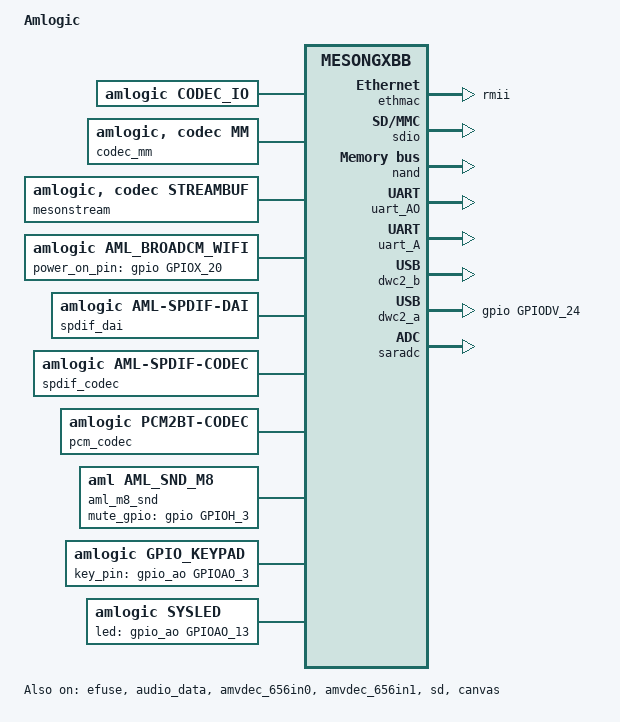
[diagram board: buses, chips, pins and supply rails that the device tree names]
/*
 * Amlogic Ltd. GXBaby Plaform
 *
 */

/dts-v1/;

#include <dt-bindings/interrupt-controller/arm-gic.h>
#include <dt-bindings/clock/gxbb.h>
#include <dt-bindings/gpio/gxbb.h>
#include <dt-bindings/gpio/gpio.h>
#include <dt-bindings/reset/aml_gxbb.h>
#include "mesongxbb.dtsi"
/ {
	model = "Amlogic";
	compatible = "amlogic, Gxbb";
	interrupt-parent = <&gic>;
	#address-cells = <2>;
	#size-cells = <2>;

	aliases {
		serial0 = &uart_AO;
		serial1 = &uart_A;
	};

	gpu_dvfs_tbl:gpu_dvfs_tbl {
		sc_mpp = <3>;/* number of pp used most of time.*/
		tbl = <&clk285_cfg &clk400_cfg &clk500_cfg &clk666_cfg &clk800_cfg>;
	};

	memory@00000000 {
		device_type = "memory";
		linux,usable-memory = <0x0 0x1000000 0x0 0x3f000000>;
	};

	reserved-memory {
		#address-cells = <2>;
		#size-cells = <2>;
		ranges;
		/* global autoconfigured region for contiguous allocations */
		secmon_reserved:linux,secmon {
			compatible = "aml_secmon_memory";
			reg = <0x0 0x10000000 0x0 0x200000>;
			no-map;
		};

		pstore:aml_pstore {
			compatible = "amlogic, pstore";
			reg = <0x0 0x20000000 0x0 0x100000>;
			no-map;
		};
		fb_reserved:linux,meson-fb {
			compatible = "amlogic, fb-memory";
			size = <0x0 0x2000000>;
			no-map;
		};

		di_reserved:linux,di {
			compatible = "amlogic, di-mem";
			size = <0x0 0x1e00000>; //10x1920x1088x3/2=30M
			//no-map;
		};

		ion_reserved:linux,ion-dev {
			compatible = "amlogic, idev-mem";
			size = <0x0 0x2000000>;
		};


		/*  vdin0 */
//		vdin0_reserved:linux,vdin0 {
//			compatible = "amlogic, vdin_memory";
			/* 1920x1080x2x4  =17M */
//			size = <0x0 0x01000000>;
//		};
		 /*  vdin1 */
//		vdin1_reserved:linux,vdin1 {
//			compatible = "amlogic, vdin_memory";
			/* 1920x1080x2x4  =17M */
//			size = <0x0 0x01000000>;
//		};
		/*  PICDEC reserved memory */
		picdec_reserved:linux,picdec {
			compatible = "amlogic, picdec_memory";
			size = <0x0 0x1000000>;
			//no-map;
		};
		/*  POST PROCESS MANAGER */
		//ppmgr_reserved:linux,ppmgr {
		//	compatible = "amlogic, ppmgr_memory";
		//	size = <0x0 0x2000000>;
		//};

		/* AVC Encode CMA pool */
		avc_cma_reserved:linux,avc_cma {
			compatible = "shared-dma-pool";
			linux,phandle = <1>;
			reusable;
			size = <0x0 0x1400000>;
			alignment = <0x0 0x400000>;
			linux,contiguous-region;
		};
		/* vdec CMA pool */
		vdec_cma_reserved:linux,vdec_cma {
			compatible = "shared-dma-pool";
			linux,phandle = <2>;
			reusable;
			size = <0x0 0x0>;
			alignment = <0x0 0x400000>;
			linux,contiguous-region;
		};
		codec_mm_cma:linux,codec_mm_cma {
			compatible = "shared-dma-pool";
			linux,phandle = <3>;
			reusable;
			size = <0x0 0x10000000>;
			alignment = <0x0 0x400000>;
			linux,contiguous-region;
		};
		/* codec shared reversed */
		codec_mm_reversed:linux,codec_mm_reserve {
			compatible = "amlogic, codec-mm-reserve";
			size = <0x0 0x3000000>;
 			no-map;
		};
	};

	meson-vout {
		compatible = "amlogic, meson-vout";
		dev_name = "meson-vout";
		status = "okay";
	};
	meson-fb {
		compatible = "amlogic, meson-fb";
		memory-region = <&fb_reserved>;
		dev_name = "meson-fb";
		status = "okay";
		interrupts = <0 3 1
			0 89 1>;
		interrupt-names = "viu-vsync", "rdma";
		mem_size = <0x01800000 0x00100000>; /* fb0/fb1 memory size */
		vmode = <3>; /** 0:VMODE_720P 1:VMODE_LCD 2:VMODE_LVDS_1080P 3:VMODE_1080P */
		scale_mode = <1>; /** 0:VPU free scale 1:OSD free scale 2:OSD super scale */
		display_size_default = <1920 1080 1920 3240 32>; //1920*1080*4*3 = 0x17BB000
	};
	ge2d {
		compatible = "amlogic, ge2d";
		dev_name = "ge2d";
		status = "okay";
		interrupts = <0 150 1>;
		interrupt-names = "ge2d";
		clocks = <&clock CLK_VAPB_0>,
			<&clock CLK_GE2D>;
		clock-names = "clk_vapb_0",
				"clk_ge2d";
		resets = <&clock GCLK_IDX_GE2D>;
		reset-names = "ge2d";
	};
	codec_io {
		compatible = "amlogic, codec_io";
		#address-cells=<2>;
		#size-cells=<2>;
		ranges;
		io_cbus_base{
			reg = <0x0 0xC1100000 0x0 0x100000>;
		};
		io_dos_base{
			reg = <0x0 0xc8820000 0x0 0x10000>;
		};
		io_hiubus_base{
			reg = <0x0 0xc883c000 0x0 0x2000>;
		};
		io_aobus_base{
			reg = <0x0 0xc8100000 0x0 0x100000>;
		};
		io_vcbus_base{
			reg = <0x0 0xd0100000 0x0 0x40000>;
		};
		io_dmc_base{
			reg = <0x0 0xc8838000 0x0 0x400>;
		};
	};
	codec_mm {
			compatible = "amlogic, codec, mm";
			memory-region = <&codec_mm_cma>;
			dev_name = "codec_mm";
			status = "okay";
	};
	ethmac: ethernet@0xc9410000{
                compatible = "amlogic, gxbb-rmii-dwmac";
                reg = <0x0 0xc9410000 0x0 0x10000
                0x0 0xc8834540 0x0 0x8>;
                interrupts = <0 8 1>;
                phy-mode= "rmii";
                pinctrl-names = "eth_pins";
                pinctrl-0 = <&eth_pins>;
                rst_pin-gpios = <&gpio GPIOZ_14 0>;
                mc_val = <0x1800>;
                resets = <&clock GCLK_IDX_ETHERNET>;
                reset-names = "ethpower";
                interrupt-names = "macirq";
                clocks = <&clock CLK_81>;
                clock-names = "ethclk81";
        };

	mesonstream {
		compatible = "amlogic, codec, streambuf";
		dev_name = "mesonstream";
		status = "okay";
		resets = <&clock GCLK_IDX_HIU_PARSER_TOP
			&clock GCLK_IDX_VPU_INTR
			&clock GCLK_IDX_DEMUX
			&clock GCLK_IDX_DOS>;
		reset-names = "parser_top",
			"vpu_intr",
			"demux",
			"vdec";
	};

	amvideocap {
		compatible = "amlogic, amvideocap";
		dev_name = "amvideocap.0";
		status = "okay";
	};

	ion_dev {
		compatible = "amlogic, ion_dev";
		memory-region = <&ion_reserved>;
	};

	vdec {
		compatible = "amlogic, vdec";
		memory-region = <&vdec_cma_reserved>;
		dev_name = "vdec.0";
		status = "okay";
		interrupts = <0 3 1
			0 23 1
			0 32 1
			0 43 1
			0 44 1
			0 45 1>;
		interrupt-names = "vsync",
			"demux",
			"parser",
			"mailbox_0",
			"mailbox_1",
			"mailbox_2";
	};
	picdec {
		   compatible = "amlogic, picdec";
		   memory-region = <&picdec_reserved>;
		   dev_name = "picdec";
		   status = "okay";
	};
	ppmgr {
		compatible = "amlogic, ppmgr";//to match of_device_id's compatible member
		memory-region = <&ion_reserved>;
		dev_name = "ppmgr";
		status = "okay";
	};
	deinterlace {
		compatible = "amlogic, deinterlace";
		status = "okay";
		memory-region = <&di_reserved>;
		interrupts = <0 46 1
				0 6 1>;
		interrupt-names = "de_irq",
				"timerc";
		buffer-size = <3133440>;	//1920x1088x3/2
		hw-version = <2>;
	};
/*	vdin0 {
		compatible = "amlogic, vdin";
		memory-region = <&vdin0_reserved>;
		dev_name = "vdin0";
		status = "ok";
		reserve-iomap = "true";
		interrupts = <0 83 1>;
		rdma-irq = <2>;
		clocks = <&clock CLK_XTAL>,
			<&clock CLK_VID_LOCK_CLK>;
		clock-names = "xtal", "cts_vid_lock_clk";
		vdin_id = <0>;
	};
	vdin1 {
		compatible = "amlogic, vdin";
		memory-region = <&vdin1_reserved>;
		dev_name = "vdin1";
		status = "ok";
		reserve-iomap = "true";
		interrupts = <0 85 1>;
		rdma-irq = <4>;
		clocks = <&clock CLK_XTAL>,
			<&clock CLK_VID_LOCK_CLK>;
		clock-names = "xtal", "cts_vid_lock_clk";
		vdin_id = <1>;
	};*/
	amvdec_656in0 {
		compatible = "amlogic, amvdec_656in";
		dev_name = "amvdec_656in0";
		status = "ok";
		reg = <0x0 0xd0048000 0x0 0x7c>;
		clocks = <&clock CLK_FPLL_DIV2>,
			<&clock CLK_BT656_CLK0>;
		clock-names = "fclk_div2", "cts_bt656_clk0";
		bt656_id = <0>;
	};
	amvdec_656in1 {
		compatible = "amlogic, amvdec_656in";
		dev_name = "amvdec_656in1";
		status = "ok";
		reg = <0x0 0xd0050000 0x0 0x7c>;
		clocks = <&clock CLK_FPLL_DIV2>,
			<&clock CLK_BT656_CLK1>;
		clock-names = "fclk_div2", "cts_bt656_clk1";
		bt656_id = <1>;
	};

	amvenc_avc{
		compatible = "amlogic, amvenc_avc";
		//memory-region = <&amvenc_avc_reserved>;
		memory-region = <&avc_cma_reserved>;
		dev_name = "amvenc_avc";
		status = "okay";
		interrupts = <0 45 1>;
		interrupt-names = "mailbox_2";
	};


	vpu {
		compatible = "amlogic, vpu";
		dev_name = "vpu";
		status = "ok";
		clk_level = <7>;
		/**	0: 100.0M    1: 166.7M    2: 200.0M
			3: 250.0M    4: 333.3M    5: 400.0M
			6: 500.0M    7: 666.7M */
	};
	//bt-dev{
		//compatible = "amlogic, bt-dev";
		//dev_name = "bt-dev";
		//status = "ok";
		//gpio_reset = <&gpio       GPIOX_20       GPIO_ACTIVE_HIGH>;
	//};
	wifi{
		compatible = "amlogic, aml_broadcm_wifi";
		dev_name = "aml_broadcm_wifi";
		status = "okay";
		interrupt_pin = <&gpio       GPIOX_7       GPIO_ACTIVE_HIGH>;
		interrupts = <	0 68 4>;
		irq_trigger_type = "GPIO_IRQ_HIGH";
		power_on_pin = <&gpio       GPIOX_20       GPIO_ACTIVE_HIGH>;
		pinctrl-names = "wifi_32k_pins";
		pinctrl-0 = <&wifi_32k_pins>;
	};
    sd{
        compatible = "amlogic, aml_sd_emmc";
        dev_name = "aml_newsd.0";
        status = "okay";
        reg = <0x0 0xd0072000 0x0 0x2000>;
        interrupts = <	0 217 1
        				0 67 1
        				0 69 1>;
        pinctrl-names = "sd_clk_cmd_pins", "sd_all_pins", "sd_1bit_pins","sd_clk_cmd_uart_pins","sd_1bit_uart_pins", "sd_to_ao_uart_pins", "ao_to_sd_uart_pins";
        pinctrl-0 = <&sd_clk_cmd_pins>;
        pinctrl-1 = <&sd_all_pins>;
        pinctrl-2 = <&sd_1bit_pins>;
        pinctrl-3 = <&sd_clk_cmd_uart_pins>;
        pinctrl-4 = <&sd_1bit_uart_pins>;
        pinctrl-5 = <&sd_to_ao_uart_pins>;
        pinctrl-6 = <&ao_to_sd_uart_pins>;
		sd{
	   		status = "okay";
				port = <1>;          /**0:sdio_a, 1:sdio_b, 2:sdio_c, 3:sdhc_a, 4:sdhc_b, 5:sdhc_c */
	   		pinname = "sd";
	   		ocr_avail = <0x00200080>; // 3.3:0x200000, 1.8+3.3:0x00200080
	   		caps = "MMC_CAP_4_BIT_DATA","MMC_CAP_MMC_HIGHSPEED",
	   				"MMC_CAP_SD_HIGHSPEED";
					//"MMC_CAP_UHS_SDR12",
	   				//"MMC_CAP_UHS_SDR25","MMC_CAP_UHS_SDR50",
	   				//"MMC_CAP_UHS_SDR104";
	   		f_min = <400000>;
	   		f_max = <100000000>;
	   		max_req_size = <0x20000>;          /**128KB*/
			gpio_dat3 = <&gpio       CARD_4       GPIO_ACTIVE_HIGH>;
			jtag_pin =  <&gpio       CARD_0       GPIO_ACTIVE_HIGH>;
			gpio_cd =  <&gpio       CARD_6       GPIO_ACTIVE_HIGH>;
	   		irq_in = <3>;
	   		irq_out = <5>;
	   		card_type = <5>; /* 0:unknown, 1:mmc card(include eMMC), 2:sd card(include tSD), 3:sdio device(ie:sdio-wifi), 4:SD combo (IO+mem) card, 5:NON sdio device(means sd/mmc card), other:reserved */
		};
    };
	sdio{
		compatible = "amlogic, aml_sd_emmc";
		dev_name = "aml_newsd.0";
		status = "okay";
		reg = <0x0 0xd0070000 0x0 0x2000>;
		interrupts = <	0 216 4>;
		pinctrl-names =  "sdio_clk_cmd_pins", "sdio_all_pins";
		pinctrl-0 = <&sdio_clk_cmd_pins>;
		pinctrl-1 = <&sdio_all_pins>;
		sdio{
			status = "okay";
			pinname = "sdio";
			ocr_avail = <0x00200080>;  /*3.3:0x200000, 1.8+3.3:0x00200080 */
			caps = "MMC_CAP_4_BIT_DATA","MMC_CAP_MMC_HIGHSPEED",
				"MMC_CAP_SD_HIGHSPEED", "MMC_CAP_NONREMOVABLE",
				"MMC_CAP_UHS_SDR12","MMC_CAP_UHS_SDR25",
				"MMC_CAP_UHS_SDR50","MMC_CAP_UHS_SDR104",
				"MMC_PM_KEEP_POWER","MMC_CAP_SDIO_IRQ";
				f_min = <400000>;
				f_max = <200000000>;
				max_req_size = <0x20000>;          /**128KB*/
				card_type = <3>;  /*3:sdio device(ie:sdio-wifi), 4:SD combo (IO+mem) card, */
		};
	};
	nand{
		compatible = "amlogic, aml_nand";
		dev_name = "nand";
		status = "ok";
		reg = <0x0 0xd0074800 0x0 0x200>;
		interrupts = <	0 34 1 >;
		pinctrl-names = "nand_rb_mod","nand_norb_mod", "nand_cs_pins_only";
		pinctrl-0 = <&conf_nand_pulldown &conf_nand_pullup &all_nand_pins>;
		pinctrl-1 = <&conf_nand_pulldown &conf_nand_pullup &all_nand_pins>;
		pinctrl-2 = <&nand_cs_pins>;
		device_id = <0>;
		plat-names = "nandnormal";
		plat-num = <1>;
		plat-part-0 = <&normal>;
		normal: normal{
			enable_pad ="ce0","ce1","ce2","ce3";
			busy_pad = "rb0";
		};
	};
	partitions: partitions{
        parts = <10>;
		part-0 = <&logo>;
		part-1 = <&recovery>;
		part-2 = <&dtb>;
		part-3 = <&tee>;
		part-4 = <&crypt>;
		part-5 = <&misc>;
		part-6 = <&boot>;
		part-7 = <&system>;
		part-8 = <&cache>;
		part-9 = <&data>;

		logo:logo{
			pname = "logo";
			size = <0x0 0x2000000>;
			mask = <1>;
		};
		recovery:recovery{
			pname = "recovery";
			size = <0x0 0x2000000>;
			mask = <1>;
		};
		dtb:dtb{
			pname = "dtb";
			size = <0x0 0x800000>;
			mask = <1>;
		};
		tee:tee{
			pname = "tee";
			size = <0x0 0x800000>;
			mask = <1>;
		};
		crypt:crypt{
			pname = "crypt";
			size = <0x0 0x2000000>;
			mask = <1>;
		};
		misc:misc{
			pname = "misc";
			size = <0x0 0x2000000>;
			mask = <1>;
		};
		boot:boot
		{
			pname = "boot";
			size = <0x0 0x2000000>;
			mask = <1>;
		};
		system:system
		{
			pname = "system";
			size = <0x0 0x40000000>;
			mask = <1>;
		};
		cache:cache
		{
			pname = "cache";
			size = <0x0 0x20000000>;
			mask = <2>;
		};
		data:data
		{
			pname = "data";
			size = <0xffffffff 0xffffffff>;
			mask = <4>;
		};
	};
	unifykey{
		compatible = "amlogic, unifykey";
		status = "ok";

		unifykey-num = <8>;
		unifykey-index-0 = <&keysn_0>;
		unifykey-index-1 = <&keysn_1>;
		unifykey-index-2 = <&keysn_2>;
		unifykey-index-3 = <&keysn_3>;
		unifykey-index-4 = <&keysn_4>;
		unifykey-index-5 = <&keysn_5>;
		unifykey-index-6 = <&keysn_6>;
		unifykey-index-7 = <&keysn_7>;

                keysn_0: key_0{
			key-name = "usid";
			key-device = "normal";
			key-permit = "read","write","del";
		};
		keysn_1:key_1{
			key-name = "mac";
                        key-device  = "normal";
			key-permit = "read","write","del";
		};
		keysn_2:key_2{
                        key-name = "hdcp";
			key-device = "secure";
                        key-type  = "sha1";
			key-permit = "read","write","del";
		};
		keysn_3:key_3{
			key-name = "secure_boot_set";
			key-device = "efuse";
			key-permit = "write";
		};
		keysn_4:key_4{
			key-name = "mac_bt";
			key-device = "normal";
			key-permit = "read","write","del";
                        key-type  = "mac";
		};
		keysn_5:key_5{
			key-name = "mac_wifi";
			key-device = "normal";
			key-permit = "read","write","del";
                        key-type  = "mac";
		};
		keysn_6:key_6{
			key-name = "hdcp2_tx";
			key-device = "normal";
			key-permit = "read","write","del";
		};
		keysn_7:key_7{
			key-name = "hdcp2_rx";
			key-device = "normal";
			key-permit = "read","write","del";
		};
		keysn_8:key_8{
			key-name = "widevinekeybox";
			key-device = "secure";
			key-type = "sha1";
			key-permit = "read","write","del";
		};

        };//End unifykey
	amhdmitx: amhdmitx{
		compatible = "amlogic, amhdmitx";
		dev_name = "amhdmitx";
		status = "okay";
		pinctrl-names="hdmitx_hpd", "hdmitx_ddc";
		pinctrl-0=<&hdmitx_hpd>;
		pinctrl-1=<&hdmitx_ddc>;
		vend-data = <&vend_data>;
		/* HPD, 57 + 32 = 89; CEC, 151 + 32 = 183*/
		interrupts = <0 57 1>;
		interrupt-names = "hdmitx_hpd";
		clocks = <&clock CLK_HDMITX_SYS &clock CLK_HDMITX_ENCP
			&clock CLK_HDMITX_ENCI &clock CLK_HDMITX_PIXEL
			&clock CLK_HDMITX_PHY &clock CLK_VID>;
		clock-names = "hdmitx_clk_sys", "hdmitx_clk_encp", "hdmitx_clk_enci",
			"hdmitx_clk_pixel", "hdmitx_clk_phy", "hdmitx_clk_vid";

		#address-cells = <2>;
		#size-cells = <2>;
		ranges;
		vend_data: vend_data{
			compatible = "amlogic, amlogic-cec";
			status = "okay";
			vendor_name = "Amlogic"; /* Max Chars: 8     */
			vendor_id = <0x000000>; /* Refer to http://standards.ieee.org/develop/regauth/oui/oui.txt   */
			product_desc = "GXBB Mbox"; /* Max Chars: 16    */
			cec_osd_string = "MBox"; /* Max Chars: 14    */
			interrupts = <0 199 1>;
			interrupt-names = "hdmitx_cec";
			pinctrl-names = "hdmitx_aocec";
			pinctrl-0=<&hdmitx_aocec>;
			reg = <0x0 0xc810023c 0x0 0x4>;
		};
	};

	uart_AO: serial@c81004c0 {
		compatible = "amlogic, meson-uart";
		reg = <0x0 0xc81004c0 0x0 0x14>;
		interrupts = <0 193 1>;
		status = "okay";
		clocks = <&clock CLK_XTAL>;
		clock-names = "clk_uart";
		fifosize = < 64 >;
		pinctrl-names = "default";
		//pinctrl-0 = <&ao_uart_pins>;
	};
	uart_A: serial@c11084c0 {
		compatible = "amlogic, meson-uart";
		reg = <0x0 0xc11084c0 0x0 0x14>;
		interrupts = <0 26 1>;
		status = "okay";
		clocks = <&clock CLK_XTAL>;
		clock-names = "clk_uart";
		fifosize = < 128 >;
		pinctrl-names = "default";
		pinctrl-0 = <&a_uart_pins>;
	};


	canvas{
		compatible = "amlogic, meson, canvas";
		dev_name = "amlogic-canvas";
		status = "ok";
		reg = <0x0 0xc8838000 0x0 0x400>;
	};

	rdma{
		compatible = "amlogic, meson, rdma";
		dev_name = "amlogic-rdma";
		status = "ok";
		interrupts = <0 89 1>;
		interrupt-names = "rdma";
	};

	dwc2_b {
		compatible = "amlogic,dwc2";
		reg = <0x0 0xc9100000 0x0 0x40000>;
		interrupts = <0 31 4>;
		status = "okay";
		pl-periph-id = <1>; /** lm name */
		clock-src = "usb1"; /** clock src */
		port-id = <1>;   /** ref to mach/usb.h */
		port-type = <1>;	/** 0: otg, 1: host, 2: slave */
		port-speed = <0>; /** 0: default, 1: high, 2: full */
		port-config = <0>; /** 0: default */
		port-dma = <0>; /** 0: default, 1: single, 2: incr, 3: incr4, 4: incr8, 5: incr16, 6: disable*/
		port-id-mode = <1>; /** 0: hardware, 1: sw_host, 2: sw_slave*/
		phy-reg = <0xc0000020>;
		phy-reg-size = <0x20>;
		usb-fifo = <1024>;
		host-only-core = <1>;
		pmu-apply-power = <1>;
		cpu-type = "gxbaby";
		resets = <&clock GCLK_IDX_USB_GENERAL
					&clock GCLK_IDX_MISC_USB1_TO_DDR
					&clock GCLK_IDX_USB1>;
		reset-names = "usb_general",
						"usb1",
						"usb1_to_ddr";
	};

	dwc2_a {
		compatible = "amlogic,dwc2";
		reg = <0x0 0xc9000000 0x0 0x40000>;
		interrupts = <0 30 4>;
		status = "okay";
		pl-periph-id = <0>; /** lm name */
		clock-src = "usb0"; /** clock src */
		port-id = <0>;  /** ref to mach/usb.h */
		port-type = <0>;	/** 0: otg, 1: host, 2: slave */
		port-speed = <0>; /** 0: default, high, 1: full */
		port-config = <0>; /** 0: default */
		port-dma = <0>; /** 0: default, 1: single, 2: incr, 3: incr4, 4: incr8, 5: incr16, 6: disable*/
		port-id-mode = <0>; /** 0: hardware, 1: sw_host, 2: sw_slave*/
		gpio-vbus-power = "GPIODV_24";
		gpios = <&gpio       GPIODV_24       GPIO_ACTIVE_HIGH>;
		gpio-work-mask	= <1>; /**0: work on pulldown,1:work on pullup*/
		phy-reg = <0xc0000000>;
		phy-reg-size = <0x20>;
		usb-fifo = <1024>;
		cpu-type = "gxbaby";
		resets = <&clock GCLK_IDX_USB_GENERAL
					    &clock GCLK_IDX_MISC_USB0_TO_DDR
              &clock GCLK_IDX_USB0>;
		reset-names = "usb_general",
						"usb0",
						"usb0_to_ddr";
	};

	/* AUDIO MESON8 DEVICES */
	i2s_dai: I2S {
		#sound-dai-cells = <0>;
		resets = <
			&clock GCLK_IDX_AIU_AI_TOP_GLUE
			&clock GCLK_IDX_AUD_BUF_ABD
			&clock GCLK_IDX_AIU_I2S_OUT
			&clock GCLK_IDX_AIU_AMCLK_MEASURE
			&clock GCLK_IDX_AIU_AIFIFO2
			&clock GCLK_IDX_AIU_AUD_MIXER
			&clock GCLK_IDX_AIU_MIXER_REG
			&clock GCLK_IDX_AIU_ADC
			&clock GCLK_IDX_AIU_TOP_LEVEL
			&clock GCLK_IDX_AIU_AOCLK
			&clock GCLK_IDX_AUD_IN
		>;
		reset-names =
			"top_glue",
			"aud_buf",
			"i2s_out",
			"amclk_measure",
			"aififo2",
			"aud_mixer",
			"mixer_reg",
			"adc",
			"top_level",
			"aoclk",
			"aud_in";
		clocks = <&clock CLK_MPLL0>,
			<&clock CLK_AMCLK>;
		clock-names = "mpll0", "mclk";
		compatible = "amlogic, aml-i2s-dai";
	};
	spdif_dai: SPDIF {
		#sound-dai-cells = <0>;
		compatible = "amlogic, aml-spdif-dai";
		resets = <
			&clock GCLK_IDX_AIU_IEC958
			&clock GCLK_IDX_AIU_ICE958_AMCLK
		>;
		reset-names =
			"iec958",
			"iec958_amclk";
		clocks = <&clock CLK_MPLL1>,
			<&clock CLK_I958>,
			<&clock CLK_AMCLK>,
			<&clock CLK_SPDIF>;
		clock-names = "mpll1", "i958", "mclk", "spdif";
	};
	pcm_dai: PCM {
		#sound-dai-cells = <0>;
		compatible = "amlogic, aml-pcm-dai";
		pinctrl-names = "aml_audio_btpcm";
		pinctrl-0 = <&audio_btpcm_pins>;
	};
	i2s_plat: i2s_platform {
		compatible = "amlogic, aml-i2s";
	};
	pcm_plat: pcm_platform {
		compatible = "amlogic, aml-pcm";
	};
	spdif_codec: spdif_codec{
		#sound-dai-cells = <0>;
		compatible = "amlogic, aml-spdif-codec";
		pinctrl-names = "aml_audio_spdif";
		pinctrl-0 = <&audio_spdif_pins>;
	};
	pcm_codec: pcm_codec{
		#sound-dai-cells = <0>;
		compatible = "amlogic, pcm2BT-codec";
	};
	/* endof AUDIO MESON8 DEVICES */

	/* AUDIO board specific */
	dummy_codec:dummy{
		#sound-dai-cells = <0>;
		compatible = "amlogic, aml_dummy_codec";
		status = "okay";
	};
	aml_m8_snd {
		compatible = "aml, aml_snd_m8";
		status = "okay";
		aml-sound-card,format = "i2s";
		aml_sound_card,name = "AML-M8AUDIO";
		aml,audio-routing =
				"Ext Spk","LOUTL",
				"Ext Spk","LOUTR";

		mute_gpio-gpios = <&gpio GPIOH_3 0>;
		hp_disable;
		hp_paraments = <800 300 0 5 1>;
		pinctrl-names = "aml_snd_m8";
		pinctrl-0 = <&audio_pins>;
		cpu_list = <&cpudai0 &cpudai1 &cpudai2>;
		codec_list = <&codec0 &codec1 &codec2>;
		plat_list = <&i2s_plat &i2s_plat &pcm_plat>;
		cpudai0: cpudai0 {
			sound-dai = <&i2s_dai>;
		};
		cpudai1: cpudai1 {
			sound-dai = <&spdif_dai>;
		};
		cpudai2: cpudai2 {
			sound-dai = <&pcm_dai>;
		};
		codec0: codec0 {
			sound-dai = <&dummy_codec>;
		};
		codec1: codec1 {
			sound-dai = <&spdif_codec>;
		};
		codec2: codec2 {
			sound-dai = <&pcm_codec>;
		};
	};
	/* END OF AUDIO board specific */

	amlogic_thermals:amlogic_thermals{
		compatible = "amlogic, amlogic-thermal";
		#thermal-cells = <7>;
		dev_name = "aml_thermal";
		trip_point = <70 1536001 1536001  511  511    3    2
			      80 1296001 1296001  435  435    2    1
			      90 1032001 1032001  328  328    2    1
			      260   NEG1    NEG1 NEG1 NEG1 NEG1 NEG1>;
		cpu_cali_a=<0>;
		idle_interval=<1000>;
		keep_mode;
		keep_mode_threshold = <85>;
		keep_mode_max_range = <1536000 792 4 3>;
	};
	gpio_keypad{
	    compatible = "amlogic, gpio_keypad";
		status = "okay";
		scan_period = <20>;
		key_num = <1>;
	    key_name = "power";
		key_code = <116>;
		key_pin = <&gpio_ao  GPIOAO_3  GPIO_ACTIVE_HIGH>;  /*"GPIOAO_3";*/
	    irq_keyup = <6>;
	    irq_keydown = <7>;
	};
	saradc: saradc {
		compatible = "amlogic, saradc";
		status = "okay";
		interrupts = <0 9 1>;
		interrupt-names = "saradc_int";
		clocks = <&clock CLK_XTAL>;
		clock-names = "saradc_clk";
		reg = <0x0 0xc1108680 0x0 0x30
					 0x0 0xc883c3d8 0x0 0x08>;
	};

	sysled {
		compatible = "amlogic, sysled";
		dev_name = "sysled";
		status = "okay";
		led_gpio = <&gpio_ao  GPIOAO_13  GPIO_ACTIVE_HIGH>;
		led_active_low = <1>;
	};
};

&pinmux {
	audio_pins:audio_pin{
		amlogic,setmask=<AO 0x78000000>;
		amlogic,clrmask=<AO 0x40000>;
		amlogic,pins = "GPIOAO_8","GPIOAO_9","GPIOAO_10","GPIOAO_11";
	};

	audio_spdif_pins:audio_pin1{
		amlogic,setmask=<1 0x200>;    /*spdif_out*/
		amlogic,clrmask=<1 0x10000>;  /*spdif_out*/
		amlogic,pins ="GPIOY_12";     /*spdif_out*/
	};

	audio_btpcm_pins:audio_btpcm_pins{
		/* BT PCM PINMUX SETTING*/
		amlogic,setmask=<3 0x78000000>;
		amlogic,clrmask=<3 0x00803280
				4 0xc0>;
		amlogic,pins ="GPIOX_8", "GPIOX_9", "GPIOX_10", "GPIOX_11";
	};
};
&efuse {
	status = "okay";
};
&audio_data{
	status = "okay";
};
